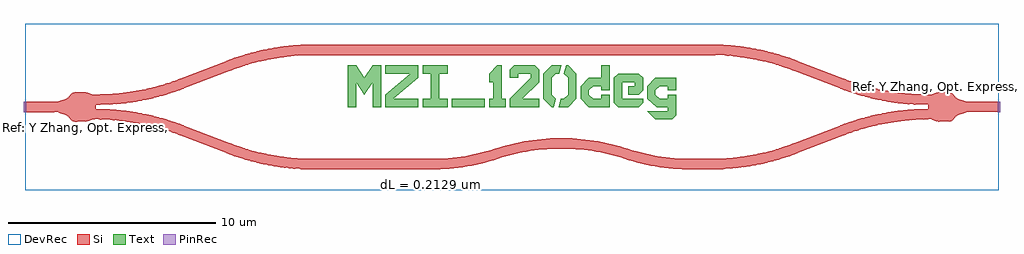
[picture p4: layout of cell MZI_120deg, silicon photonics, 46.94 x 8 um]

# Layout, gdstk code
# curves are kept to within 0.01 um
import gdstk
lib = gdstk.Library(unit=1e-6, precision=1e-09)
def R(c, l, rs):  # rectangles x0, y0, x1, y1
    for r in rs: c.add(gdstk.rectangle(r[:2], r[2:], *l))
def P(c, l, *ps):  # polygons
    for p in ps: c.add(gdstk.Polygon(p, *l))
Si = (1, 0)
PinRec = (1, 10)
Text = (10, 0)
DevRec = (68, 0)

optical_port1 = lib.new_cell('optical_port1')
optical_port1.add(gdstk.FlexPath([(0.05,0),(-0.05,0)], 0.5, ends="flush", simple_path=True, layer=1, datatype=10))  # PinRec
optical_port1.add(gdstk.FlexPath([(0.05,0),(-0.05,0)], 0.5, ends="flush", simple_path=True, layer=1, datatype=10))  # PinRec
optical_port1.add(gdstk.FlexPath([(0.05,0),(-0.05,0)], 0.5, ends="flush", simple_path=True, layer=1, datatype=10))  # PinRec
optical_port1.add(gdstk.FlexPath([(0.05,0),(-0.05,0)], 0.5, ends="flush", simple_path=True, layer=1, datatype=10))  # PinRec
optical_port1.add(gdstk.FlexPath([(0.05,0),(-0.05,0)], 0.5, ends="flush", simple_path=True, layer=1, datatype=10))  # PinRec
optical_port1.add(gdstk.FlexPath([(0.05,0),(-0.05,0)], 0.5, ends="flush", simple_path=True, layer=1, datatype=10))  # PinRec
optical_port1.add(gdstk.FlexPath([(0.05,0),(-0.05,0)], 0.5, ends="flush", simple_path=True, layer=1, datatype=10))  # PinRec
optical_port1.add(gdstk.FlexPath([(0.05,0),(-0.05,0)], 0.5, ends="flush", simple_path=True, layer=1, datatype=10))  # PinRec
optical_port1.add(gdstk.FlexPath([(0.05,0),(-0.05,0)], 0.5, ends="flush", simple_path=True, layer=1, datatype=10))  # PinRec
optical_port1.add(gdstk.FlexPath([(0.05,0),(-0.05,0)], 0.5, ends="flush", simple_path=True, layer=1, datatype=10))  # PinRec
optical_port1.add(gdstk.FlexPath([(0.05,0),(-0.05,0)], 0.5, ends="flush", simple_path=True, layer=1, datatype=10))  # PinRec
optical_port1.add(gdstk.FlexPath([(0.05,0),(-0.05,0)], 0.5, ends="flush", simple_path=True, layer=1, datatype=10))  # PinRec
optical_port1.add(gdstk.FlexPath([(0.05,0),(-0.05,0)], 0.5, ends="flush", simple_path=True, layer=1, datatype=10))  # PinRec
optical_port1.add(gdstk.FlexPath([(0.05,0),(-0.05,0)], 0.5, ends="flush", simple_path=True, layer=1, datatype=10))  # PinRec
optical_port1.add(gdstk.FlexPath([(0.05,0),(-0.05,0)], 0.5, ends="flush", simple_path=True, layer=1, datatype=10))  # PinRec
optical_port1.add(gdstk.FlexPath([(0.05,0),(-0.05,0)], 0.5, ends="flush", simple_path=True, layer=1, datatype=10))  # PinRec
optical_port1.add(gdstk.FlexPath([(0.05,0),(-0.05,0)], 0.5, ends="flush", simple_path=True, layer=1, datatype=10))  # PinRec
optical_port1.add(gdstk.FlexPath([(0.05,0),(-0.05,0)], 0.5, ends="flush", simple_path=True, layer=1, datatype=10))  # PinRec
optical_port1.add(gdstk.FlexPath([(0.05,0),(-0.05,0)], 0.5, ends="flush", simple_path=True, layer=1, datatype=10))  # PinRec
optical_port1.add(gdstk.FlexPath([(0.05,0),(-0.05,0)], 0.5, ends="flush", simple_path=True, layer=1, datatype=10))  # PinRec
optical_port1.add(gdstk.FlexPath([(0.05,0),(-0.05,0)], 0.5, ends="flush", simple_path=True, layer=1, datatype=10))  # PinRec
optical_port1.add(gdstk.FlexPath([(0.05,0),(-0.05,0)], 0.5, ends="flush", simple_path=True, layer=1, datatype=10))  # PinRec
optical_port1.add(gdstk.FlexPath([(0.05,0),(-0.05,0)], 0.5, ends="flush", simple_path=True, layer=1, datatype=10))  # PinRec
optical_port1.add(gdstk.FlexPath([(0.05,0),(-0.05,0)], 0.5, ends="flush", simple_path=True, layer=1, datatype=10))  # PinRec
optical_port1.add(gdstk.FlexPath([(0.05,0),(-0.05,0)], 0.5, ends="flush", simple_path=True, layer=1, datatype=10))  # PinRec
optical_port1.add(gdstk.FlexPath([(0.05,0),(-0.05,0)], 0.5, ends="flush", simple_path=True, layer=1, datatype=10))  # PinRec
optical_port1.add(gdstk.FlexPath([(0.05,0),(-0.05,0)], 0.5, ends="flush", simple_path=True, layer=1, datatype=10))  # PinRec
optical_port1.add(gdstk.FlexPath([(0.05,0),(-0.05,0)], 0.5, ends="flush", simple_path=True, layer=1, datatype=10))  # PinRec
optical_port1.add(gdstk.FlexPath([(0.05,0),(-0.05,0)], 0.5, ends="flush", simple_path=True, layer=1, datatype=10))  # PinRec
optical_port1.add(gdstk.FlexPath([(0.05,0),(-0.05,0)], 0.5, ends="flush", simple_path=True, layer=1, datatype=10))  # PinRec
optical_port1.add(gdstk.FlexPath([(0.05,0),(-0.05,0)], 0.5, ends="flush", simple_path=True, layer=1, datatype=10))  # PinRec
optical_port1.add(gdstk.FlexPath([(0.05,0),(-0.05,0)], 0.5, ends="flush", simple_path=True, layer=1, datatype=10))  # PinRec
optical_port1.add(gdstk.FlexPath([(0.05,0),(-0.05,0)], 0.5, ends="flush", simple_path=True, layer=1, datatype=10))  # PinRec
optical_port1.add(gdstk.FlexPath([(0.05,0),(-0.05,0)], 0.5, ends="flush", simple_path=True, layer=1, datatype=10))  # PinRec
optical_port1.add(gdstk.FlexPath([(0.05,0),(-0.05,0)], 0.5, ends="flush", simple_path=True, layer=1, datatype=10))  # PinRec
optical_port1.add(gdstk.FlexPath([(0.05,0),(-0.05,0)], 0.5, ends="flush", simple_path=True, layer=1, datatype=10))  # PinRec
optical_port1.add(gdstk.FlexPath([(0.05,0),(-0.05,0)], 0.5, ends="flush", simple_path=True, layer=1, datatype=10))  # PinRec
optical_port1.add(gdstk.Label('o1', (0,0), layer=1, texttype=10))
optical_port1.add(gdstk.Label('o1', (0,0), layer=1, texttype=10))
optical_port1.add(gdstk.Label('o1', (0,0), layer=1, texttype=10))
optical_port1.add(gdstk.Label('o1', (0,0), layer=1, texttype=10))
optical_port1.add(gdstk.Label('o1', (0,0), layer=1, texttype=10))
optical_port1.add(gdstk.Label('o1', (0,0), layer=1, texttype=10))
optical_port1.add(gdstk.Label('o1', (0,0), layer=1, texttype=10))
optical_port1.add(gdstk.Label('o1', (0,0), layer=1, texttype=10))
optical_port1.add(gdstk.Label('o1', (0,0), layer=1, texttype=10))
optical_port1.add(gdstk.Label('o1', (0,0), layer=1, texttype=10))
optical_port1.add(gdstk.Label('o1', (0,0), layer=1, texttype=10))
optical_port1.add(gdstk.Label('o1', (0,0), layer=1, texttype=10))
optical_port1.add(gdstk.Label('o1', (0,0), layer=1, texttype=10))
optical_port1.add(gdstk.Label('o1', (0,0), layer=1, texttype=10))
optical_port1.add(gdstk.Label('o1', (0,0), layer=1, texttype=10))
optical_port1.add(gdstk.Label('o1', (0,0), layer=1, texttype=10))
optical_port1.add(gdstk.Label('o1', (0,0), layer=1, texttype=10))
optical_port1.add(gdstk.Label('o1', (0,0), layer=1, texttype=10))
optical_port1.add(gdstk.Label('o1', (0,0), layer=1, texttype=10))
optical_port1.add(gdstk.Label('o1', (0,0), layer=1, texttype=10))
optical_port1.add(gdstk.Label('o1', (0,0), layer=1, texttype=10))
optical_port1.add(gdstk.Label('o1', (0,0), layer=1, texttype=10))
optical_port1.add(gdstk.Label('o1', (0,0), layer=1, texttype=10))
optical_port1.add(gdstk.Label('o1', (0,0), layer=1, texttype=10))
optical_port1.add(gdstk.Label('o1', (0,0), layer=1, texttype=10))
optical_port1.add(gdstk.Label('o1', (0,0), layer=1, texttype=10))
optical_port1.add(gdstk.Label('o1', (0,0), layer=1, texttype=10))
optical_port1.add(gdstk.Label('o1', (0,0), layer=1, texttype=10))
optical_port1.add(gdstk.Label('o1', (0,0), layer=1, texttype=10))
optical_port1.add(gdstk.Label('o1', (0,0), layer=1, texttype=10))
optical_port1.add(gdstk.Label('o1', (0,0), layer=1, texttype=10))
optical_port1.add(gdstk.Label('o1', (0,0), layer=1, texttype=10))
optical_port1.add(gdstk.Label('o1', (0,0), layer=1, texttype=10))
optical_port1.add(gdstk.Label('o1', (0,0), layer=1, texttype=10))
optical_port1.add(gdstk.Label('o1', (0,0), layer=1, texttype=10))
optical_port1.add(gdstk.Label('o1', (0,0), layer=1, texttype=10))
optical_port1.add(gdstk.Label('o1', (0,0), layer=1, texttype=10))

optical_port2 = lib.new_cell('optical_port2')
optical_port2.add(gdstk.FlexPath([(-0.05,0),(0.05,0)], 0.5, ends="flush", simple_path=True, layer=1, datatype=10))  # PinRec
optical_port2.add(gdstk.FlexPath([(-0.05,0),(0.05,0)], 0.5, ends="flush", simple_path=True, layer=1, datatype=10))  # PinRec
optical_port2.add(gdstk.FlexPath([(-0.05,0),(0.05,0)], 0.5, ends="flush", simple_path=True, layer=1, datatype=10))  # PinRec
optical_port2.add(gdstk.FlexPath([(-0.05,0),(0.05,0)], 0.5, ends="flush", simple_path=True, layer=1, datatype=10))  # PinRec
optical_port2.add(gdstk.FlexPath([(-0.05,0),(0.05,0)], 0.5, ends="flush", simple_path=True, layer=1, datatype=10))  # PinRec
optical_port2.add(gdstk.FlexPath([(-0.05,0),(0.05,0)], 0.5, ends="flush", simple_path=True, layer=1, datatype=10))  # PinRec
optical_port2.add(gdstk.FlexPath([(-0.05,0),(0.05,0)], 0.5, ends="flush", simple_path=True, layer=1, datatype=10))  # PinRec
optical_port2.add(gdstk.FlexPath([(-0.05,0),(0.05,0)], 0.5, ends="flush", simple_path=True, layer=1, datatype=10))  # PinRec
optical_port2.add(gdstk.FlexPath([(-0.05,0),(0.05,0)], 0.5, ends="flush", simple_path=True, layer=1, datatype=10))  # PinRec
optical_port2.add(gdstk.FlexPath([(-0.05,0),(0.05,0)], 0.5, ends="flush", simple_path=True, layer=1, datatype=10))  # PinRec
optical_port2.add(gdstk.FlexPath([(-0.05,0),(0.05,0)], 0.5, ends="flush", simple_path=True, layer=1, datatype=10))  # PinRec
optical_port2.add(gdstk.FlexPath([(-0.05,0),(0.05,0)], 0.5, ends="flush", simple_path=True, layer=1, datatype=10))  # PinRec
optical_port2.add(gdstk.FlexPath([(-0.05,0),(0.05,0)], 0.5, ends="flush", simple_path=True, layer=1, datatype=10))  # PinRec
optical_port2.add(gdstk.FlexPath([(-0.05,0),(0.05,0)], 0.5, ends="flush", simple_path=True, layer=1, datatype=10))  # PinRec
optical_port2.add(gdstk.FlexPath([(-0.05,0),(0.05,0)], 0.5, ends="flush", simple_path=True, layer=1, datatype=10))  # PinRec
optical_port2.add(gdstk.FlexPath([(-0.05,0),(0.05,0)], 0.5, ends="flush", simple_path=True, layer=1, datatype=10))  # PinRec
optical_port2.add(gdstk.FlexPath([(-0.05,0),(0.05,0)], 0.5, ends="flush", simple_path=True, layer=1, datatype=10))  # PinRec
optical_port2.add(gdstk.FlexPath([(-0.05,0),(0.05,0)], 0.5, ends="flush", simple_path=True, layer=1, datatype=10))  # PinRec
optical_port2.add(gdstk.FlexPath([(-0.05,0),(0.05,0)], 0.5, ends="flush", simple_path=True, layer=1, datatype=10))  # PinRec
optical_port2.add(gdstk.FlexPath([(-0.05,0),(0.05,0)], 0.5, ends="flush", simple_path=True, layer=1, datatype=10))  # PinRec
optical_port2.add(gdstk.FlexPath([(-0.05,0),(0.05,0)], 0.5, ends="flush", simple_path=True, layer=1, datatype=10))  # PinRec
optical_port2.add(gdstk.FlexPath([(-0.05,0),(0.05,0)], 0.5, ends="flush", simple_path=True, layer=1, datatype=10))  # PinRec
optical_port2.add(gdstk.FlexPath([(-0.05,0),(0.05,0)], 0.5, ends="flush", simple_path=True, layer=1, datatype=10))  # PinRec
optical_port2.add(gdstk.FlexPath([(-0.05,0),(0.05,0)], 0.5, ends="flush", simple_path=True, layer=1, datatype=10))  # PinRec
optical_port2.add(gdstk.FlexPath([(-0.05,0),(0.05,0)], 0.5, ends="flush", simple_path=True, layer=1, datatype=10))  # PinRec
optical_port2.add(gdstk.FlexPath([(-0.05,0),(0.05,0)], 0.5, ends="flush", simple_path=True, layer=1, datatype=10))  # PinRec
optical_port2.add(gdstk.FlexPath([(-0.05,0),(0.05,0)], 0.5, ends="flush", simple_path=True, layer=1, datatype=10))  # PinRec
optical_port2.add(gdstk.FlexPath([(-0.05,0),(0.05,0)], 0.5, ends="flush", simple_path=True, layer=1, datatype=10))  # PinRec
optical_port2.add(gdstk.FlexPath([(-0.05,0),(0.05,0)], 0.5, ends="flush", simple_path=True, layer=1, datatype=10))  # PinRec
optical_port2.add(gdstk.FlexPath([(-0.05,0),(0.05,0)], 0.5, ends="flush", simple_path=True, layer=1, datatype=10))  # PinRec
optical_port2.add(gdstk.FlexPath([(-0.05,0),(0.05,0)], 0.5, ends="flush", simple_path=True, layer=1, datatype=10))  # PinRec
optical_port2.add(gdstk.FlexPath([(-0.05,0),(0.05,0)], 0.5, ends="flush", simple_path=True, layer=1, datatype=10))  # PinRec
optical_port2.add(gdstk.FlexPath([(-0.05,0),(0.05,0)], 0.5, ends="flush", simple_path=True, layer=1, datatype=10))  # PinRec
optical_port2.add(gdstk.FlexPath([(-0.05,0),(0.05,0)], 0.5, ends="flush", simple_path=True, layer=1, datatype=10))  # PinRec
optical_port2.add(gdstk.FlexPath([(-0.05,0),(0.05,0)], 0.5, ends="flush", simple_path=True, layer=1, datatype=10))  # PinRec
optical_port2.add(gdstk.FlexPath([(-0.05,0),(0.05,0)], 0.5, ends="flush", simple_path=True, layer=1, datatype=10))  # PinRec
optical_port2.add(gdstk.FlexPath([(-0.05,0),(0.05,0)], 0.5, ends="flush", simple_path=True, layer=1, datatype=10))  # PinRec
optical_port2.add(gdstk.Label('o2', (0,0), layer=1, texttype=10))
optical_port2.add(gdstk.Label('o2', (0,0), layer=1, texttype=10))
optical_port2.add(gdstk.Label('o2', (0,0), layer=1, texttype=10))
optical_port2.add(gdstk.Label('o2', (0,0), layer=1, texttype=10))
optical_port2.add(gdstk.Label('o2', (0,0), layer=1, texttype=10))
optical_port2.add(gdstk.Label('o2', (0,0), layer=1, texttype=10))
optical_port2.add(gdstk.Label('o2', (0,0), layer=1, texttype=10))
optical_port2.add(gdstk.Label('o2', (0,0), layer=1, texttype=10))
optical_port2.add(gdstk.Label('o2', (0,0), layer=1, texttype=10))
optical_port2.add(gdstk.Label('o2', (0,0), layer=1, texttype=10))
optical_port2.add(gdstk.Label('o2', (0,0), layer=1, texttype=10))
optical_port2.add(gdstk.Label('o2', (0,0), layer=1, texttype=10))
optical_port2.add(gdstk.Label('o2', (0,0), layer=1, texttype=10))
optical_port2.add(gdstk.Label('o2', (0,0), layer=1, texttype=10))
optical_port2.add(gdstk.Label('o2', (0,0), layer=1, texttype=10))
optical_port2.add(gdstk.Label('o2', (0,0), layer=1, texttype=10))
optical_port2.add(gdstk.Label('o2', (0,0), layer=1, texttype=10))
optical_port2.add(gdstk.Label('o2', (0,0), layer=1, texttype=10))
optical_port2.add(gdstk.Label('o2', (0,0), layer=1, texttype=10))
optical_port2.add(gdstk.Label('o2', (0,0), layer=1, texttype=10))
optical_port2.add(gdstk.Label('o2', (0,0), layer=1, texttype=10))
optical_port2.add(gdstk.Label('o2', (0,0), layer=1, texttype=10))
optical_port2.add(gdstk.Label('o2', (0,0), layer=1, texttype=10))
optical_port2.add(gdstk.Label('o2', (0,0), layer=1, texttype=10))
optical_port2.add(gdstk.Label('o2', (0,0), layer=1, texttype=10))
optical_port2.add(gdstk.Label('o2', (0,0), layer=1, texttype=10))
optical_port2.add(gdstk.Label('o2', (0,0), layer=1, texttype=10))
optical_port2.add(gdstk.Label('o2', (0,0), layer=1, texttype=10))
optical_port2.add(gdstk.Label('o2', (0,0), layer=1, texttype=10))
optical_port2.add(gdstk.Label('o2', (0,0), layer=1, texttype=10))
optical_port2.add(gdstk.Label('o2', (0,0), layer=1, texttype=10))
optical_port2.add(gdstk.Label('o2', (0,0), layer=1, texttype=10))
optical_port2.add(gdstk.Label('o2', (0,0), layer=1, texttype=10))
optical_port2.add(gdstk.Label('o2', (0,0), layer=1, texttype=10))
optical_port2.add(gdstk.Label('o2', (0,0), layer=1, texttype=10))
optical_port2.add(gdstk.Label('o2', (0,0), layer=1, texttype=10))
optical_port2.add(gdstk.Label('o2', (0,0), layer=1, texttype=10))

text_tmzi_120deg_s2_p16_ = lib.new_cell('text_TMZI_120deg_S2_P16_d33510b8')
R(text_tmzi_120deg_s2_p16_, Text, [(13.12,0,14.72,0.4)])
P(text_tmzi_120deg_s2_p16_, Text, [(22.92,-0.6),(22.52,-0.2),(23.52,-0.2),(23.52,0),(22.988,0),(22.52,0.4),(22.52,1),(22.92,1.4),(23.92,1.4),(23.92,0.8),(23.52,0.8),(23.52,1),(23.12,1),(22.92,0.8),(22.92,0.6),(23.12,0.4),(23.52,0.4),(23.52,0.6),(23.92,0.6),(23.92,-0.4),(23.72,-0.6)],
  [(21.12,0),(20.92,0.2),(20.92,1.4),(21.12,1.6),(22.12,1.6),(22.32,1.4),(22.32,0.8),(22.12,0.6),(21.6,0.6),(21.6,1),(21.92,1),(21.92,1.2),(21.32,1.2),(21.32,0.4),(22.32,0.4),(22.32,0.2),(22.12,0)],
  [(8.12,0),(8.12,2),(8.52,2),(8.92,1.4),(9.32,2),(9.72,2),(9.72,0),(9.32,0),(9.32,1.2),(8.92,0.6),(8.52,1.2),(8.52,0)],
  [(9.92,0),(9.92,0.6),(11.12,1.6),(9.92,1.6),(9.92,2),(11.52,2),(11.52,1.4),(10.32,0.4),(11.52,0.4),(11.52,0)],
  [(11.72,0),(11.72,0.4),(12.12,0.4),(12.12,1.6),(11.72,1.6),(11.72,2),(12.92,2),(12.92,1.6),(12.52,1.6),(12.52,0.4),(12.92,0.4),(12.92,0)],
  [(14.92,0),(14.92,0.4),(15.12,0.4),(15.12,1.2),(14.92,1.2),(14.92,1.6),(15.32,2),(15.52,2),(15.52,0.4),(15.72,0.4),(15.72,0)],
  [(15.92,0),(15.92,0.4),(16.92,1.4),(16.92,1.6),(16.32,1.6),(16.32,1.4),(15.92,1.4),(15.92,1.8),(16.12,2),(17.12,2),(17.32,1.8),(17.32,1.2),(16.52,0.4),(17.32,0.4),(17.32,0)],
  [(17.92,0),(17.52,0.4),(17.52,1.6),(17.92,2),(18.38,2),(18.28,1.6),(18.12,1.6),(17.92,1.4),(17.92,0.6),(18.12,0.4),(18.02,0)],
  [(18.26,0),(18.36,0.4),(18.52,0.4),(18.72,0.6),(18.72,1.4),(18.52,1.6),(18.62,2),(18.72,2),(19.12,1.6),(19.12,0.4),(18.72,0)],
  [(19.72,0),(19.32,0.4),(19.32,1),(19.72,1.4),(20.32,1.4),(20.32,2),(20.72,2),(20.72,0.8),(20.32,0.8),(20.32,1),(19.92,1),(19.72,0.8),(19.72,0.6),(19.92,0.4),(20.32,0.4),(20.32,0.6),(20.72,0.6),(20.72,0)])

mzi_120deg = lib.new_cell('MZI_120deg')
P(mzi_120deg, Si, [(6.458,-3),(5.718,-2.974),(4.993,-2.903),(4.257,-2.784),(3.509,-2.613),(3.017,-2.472),(2.491,-2.295),(-0.369,-1.202),(-1.123,-0.974),(-1.826,-0.812),(-2.677,-0.678),(-3.601,-0.607),(-4.123,-0.595),(-4.492,-0.699),(-4.991,-0.701),(-5.077,-0.683),(-5.145,-0.647),(-5.344,-0.44),(-5.434,-0.378),(-5.833,-0.25),(-7.4,-0.25),(-7.4,0.25),(-5.833,0.25),(-5.434,0.378),(-5.344,0.44),(-5.145,0.647),(-5.077,0.683),(-4.991,0.701),(-4.492,0.699),(-4.123,0.595),(-3.501,0.611),(-2.619,0.685),(-1.693,0.839),(-0.976,1.014),(-0.334,1.214),(2.412,2.266),(3.109,2.5),(6.456,2.5),(5.796,2.478),(5.119,2.415),(4.414,2.305),(3.799,2.171),(3.282,2.03),(2.706,1.841),(0.088,0.834),(-0.72,0.567),(-1.565,0.355),(-2.381,0.212),(-3.16,0.13),(-4,0.1),(-4,-0.1),(-3.265,-0.123),(-2.564,-0.188),(-1.895,-0.29),(-1.214,-0.435),(-0.612,-0.599),(-0.086,-0.771),(2.532,-1.777),(3.336,-2.046),(3.962,-2.21),(4.54,-2.328),(5.119,-2.415),(5.678,-2.47),(6.456,-2.5),(12.14,-2.5),(12.965,-2.465),(13.581,-2.393),(14.19,-2.282),(14.792,-2.133),(15.792,-1.834),(16.613,-1.654),(17.446,-1.543),(18.285,-1.5),(19.125,-1.525),(19.543,-1.564),(20.167,-1.654),(20.988,-1.834),(21.987,-2.133),(22.387,-2.236),(22.994,-2.36),(23.608,-2.445),(24.226,-2.491),(24.639,-2.5),(25.756,-2.498),(26.488,-2.46),(27.036,-2.4),(27.625,-2.305),(28.24,-2.171),(28.757,-2.03),(29.507,-1.777),(32.008,-0.813),(32.461,-0.658),(32.999,-0.5),(33.796,-0.316),(34.532,-0.197),(35.288,-0.124),(36.039,-0.1),(36.039,0.1),(35.304,0.123),(34.603,0.188),(33.934,0.29),(33.253,0.435),(32.651,0.599),(32.125,0.771),(29.507,1.777),(28.757,2.03),(28.24,2.171),(27.667,2.297),(27.08,2.394),(26.567,2.453),(26.081,2.487),(25.583,2.5),(3.109,2.5),(3.59,2.634),(4.147,2.762),(4.757,2.87),(5.294,2.938),(5.868,2.983),(6.458,3),(25.581,3),(26.446,2.965),(27.046,2.903),(27.644,2.81),(28.229,2.688),(28.819,2.533),(29.627,2.266),(32.373,1.214),(33.015,1.014),(33.732,0.839),(34.658,0.685),(35.54,0.611),(36.162,0.595),(36.531,0.699),(37.03,0.701),(37.116,0.683),(37.184,0.647),(37.383,0.44),(37.473,0.378),(37.872,0.25),(39.439,0.25),(39.439,-0.25),(37.872,-0.25),(37.473,-0.378),(37.383,-0.44),(37.184,-0.647),(37.116,-0.683),(37.03,-0.701),(36.531,-0.699),(36.162,-0.595),(35.54,-0.611),(34.658,-0.685),(33.732,-0.839),(33.015,-1.014),(32.373,-1.214),(29.627,-2.266),(28.937,-2.498),(28.449,-2.634),(27.892,-2.762),(27.282,-2.87),(26.745,-2.938),(26.171,-2.983),(25.581,-3),(24.422,-2.998),(23.555,-2.943),(22.91,-2.853),(22.272,-2.723),(21.851,-2.614),(20.862,-2.317),(20.081,-2.147),(19.288,-2.04),(18.89,-2.012),(18.29,-2),(17.492,-2.04),(16.699,-2.147),(15.918,-2.317),(14.928,-2.614),(14.295,-2.771),(13.655,-2.887),(13.008,-2.963),(12.14,-3)])
R(mzi_120deg, DevRec, [(-7.4,-4,39.439,4)])
mzi_120deg.add(gdstk.Reference(optical_port1, (-7.4,0)))
mzi_120deg.add(gdstk.Reference(optical_port2, (39.439,0)))
mzi_120deg.add(gdstk.Reference(text_tmzi_120deg_s2_p16_, (0,0)))
mzi_120deg.add(gdstk.Label('Ref: Y Zhang, Opt. Express, 21/1, 2013', (-5.65,-1), layer=10, texttype=0))
mzi_120deg.add(gdstk.Label('Ref: Y Zhang, Opt. Express, 21/1, 2013', (37.689,1), layer=10, texttype=0))
mzi_120deg.add(gdstk.Label('dL = 0.2129 um', (12.141,-3.75), layer=10, texttype=0))

lib.write_gds('MZI_120deg.gds')
